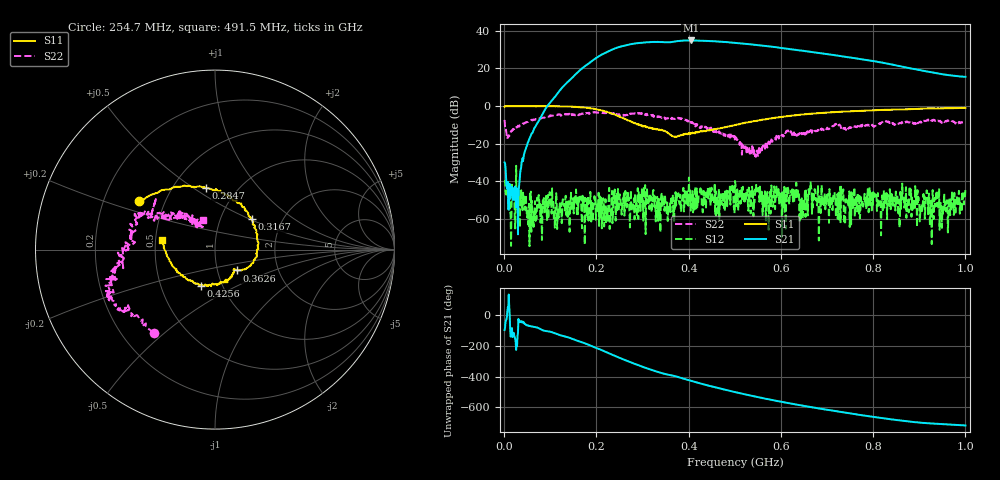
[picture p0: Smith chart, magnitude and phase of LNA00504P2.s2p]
! Created with skrf 1.9.0 (http://scikit-rf.org).
# Hz S RI R 50.0
!freq ReS11 ImS11 ReS21 ImS21 ReS12 ImS12 ReS22 ImS22
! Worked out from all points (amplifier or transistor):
!   1001 points, 1 MHz to 1 GHz, reference 50 ohm
!   highest |S21| = 34.9 dB at 404.6 MHz (marker M1)
!   |S21| within 3 dB of that: 256.5 MHz to 568.5 MHz (312 MHz wide, 75.6 % of centre)
!   unconditionally stable (mu >= 1): 237.8 MHz to 298.7 MHz; 309.8 MHz to 400.4 MHz; 400.8 MHz to end of sweep (the widest 3 of 43)
!   at 166.8 MHz: K = 1.60, MAG = 30.7 dB, |S12| = -50.8 dB
!   at 500.5 MHz: K = 1.14, MAG = 34.4 dB, |S12| = -39.8 dB
!   at 1 GHz: K = 2.33, MAG = 23.6 dB, |S12| = -44.6 dB
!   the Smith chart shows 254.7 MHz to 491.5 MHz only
!   S11 on the Smith chart (normalised r, x): 254.7 MHz: 0.36, +0.26; 284.7 MHz: 0.72, +0.56; 316.7 MHz: 1.41, +0.51; 362.6 MHz: 1.23, -0.29; 425.6 MHz: 0.79, -0.33; 491.5 MHz: 0.54, +0.06
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1000000  0.9708 0.000513  -0.00464 -0.0318  -0.00917 0.0027  0.3121 0.2973
1.08892e8  0.5263 -0.8444  -0.796 -1.503  0.000383 0.00176  0.4302 -0.373
1.67833e8  -0.2249 -0.9043  -9.78 -0.5846  -0.000363 -0.0013  0.0467 -0.6323
2.13787e8  -0.6837 -0.3314  -15.05 18.76  -0.00331 -8.85e-05  -0.2066 -0.656
2.32768e8  -0.6427 -0.0074  -7.252 30.42  -0.00252 -0.0012  -0.2706 -0.5816
2.54746e8  -0.4215 0.269  9.522 37.54  0.000453 0.00124  -0.3394 -0.4637
2.84716e8  -0.0501 0.3428  35.06 30.18  -0.0029 0.000408  -0.5764 -0.2674
3.16684e8  0.2056 0.1693  49.81 5.492  -0.0036 0.00226  -0.5607 -0.1204
3.34666e8  0.2389 0.0136  49.66 -10.09  -0.000751 0.000552  -0.5286 -0.037
3.62638e8  0.1198 -0.1162  42.65 -26.57  -0.00101 0.00278  -0.4425 0.1056
3.79621e8  0.1034 -0.1273  38.01 -38.24  0.000441 0.00286  -0.4215 0.1893
4.04596e8  0.0285 -0.1822  21.13 -51.3  0.00128 -0.00109  -0.3219 0.1705
4.25575e8  -0.0781 -0.2011  4.76 -54.38  0.00114 0.00648  -0.1869 0.1823
4.55545e8  -0.2106 -0.1263  -16.49 -49.95  -0.00122 0.00214  -0.1469 0.1555
4.91509e8  -0.2942 0.0523  -34.24 -35.08  0.00389 0.00606  -0.0668 0.1636
5.005e8  -0.2981 0.1111  -37.32 -30.49  0.0101 -0.00203  -0.0792 0.0822
5.4046e8  -0.2412 0.3159  -41.74 -9.575  0.000916 -0.000746  -0.0487 0.00162
5.88412e8  -0.0494 0.4912  -35.19 10.59  0.00403 -0.00119  -0.1107 -0.0737
6.67333e8  0.3243 0.5387  -13.84 23.39  0.00137 -0.000229  -0.1896 -0.0473
7.53247e8  0.6307 0.3731  3.507 18.97  -0.000237 -0.00514  -0.2702 0.00182
8.34166e8  0.7875 0.1426  9.402 9.298  0.00198 -0.0035  -0.3634 0.0449
1e9  0.8109 -0.3908  6.011 0.3019  -0.00589 -0.000455  -0.1824 0.328
